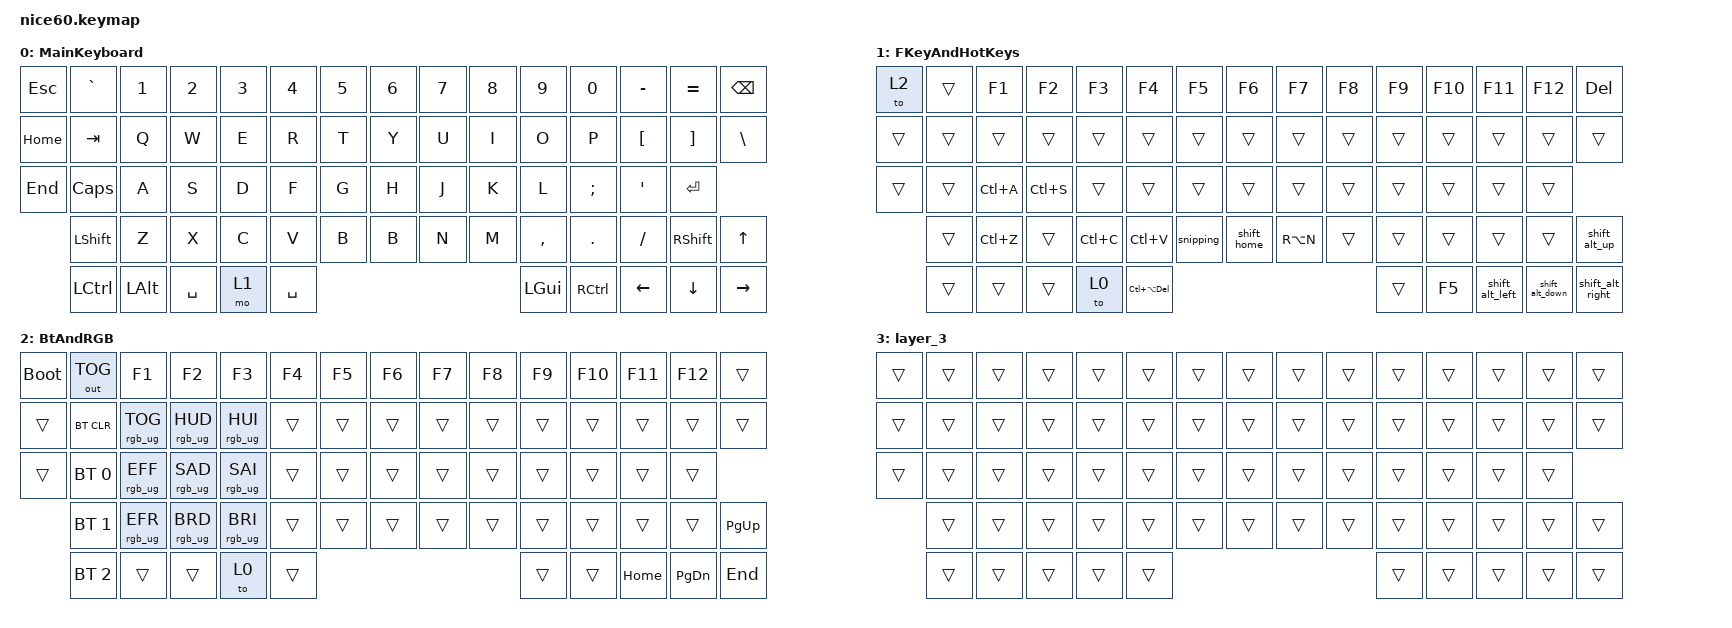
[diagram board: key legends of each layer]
/*
 * Copyright (c) 2021 The ZMK Contributors
 *
 * SPDX-License-Identifier: MIT
 */

#include <behaviors.dtsi>
#include <dt-bindings/zmk/bt.h>
#include <dt-bindings/zmk/keys.h>
#include <dt-bindings/zmk/outputs.h>
#include <dt-bindings/zmk/rgb.h>

/ {
    combos {
        compatible = "zmk,combos";
    };

    macros {
        shift_home: shift_home {
            compatible = "zmk,behavior-macro";
            label = "SHIFT_HOME";
            #binding-cells = <0>;
            bindings =
                <&macro_press>,
                <&kp LEFT_SHIFT>,
                <&macro_tap>,
                <&kp HOME>,
                <&macro_release>,
                <&kp LEFT_SHIFT>;
        };
        shift_end: shift_end {
            compatible = "zmk,behavior-macro";
            label = "SHIFT_END";
            #binding-cells = <0>;
            bindings =
                <&macro_press>,
                <&kp LEFT_SHIFT>,
                <&macro_tap>,
                <&kp END>,
                <&macro_release>,
                <&kp LEFT_SHIFT>;
        };
        snipping: snipping {
            compatible = "zmk,behavior-macro";
            label = "SNIPPING";
            #binding-cells = <0>;
            bindings =
                <&macro_press>,
                <&kp LEFT_WIN &kp LEFT_SHIFT>,
                <&macro_tap>,
                <&kp S>,
                <&macro_release>,
                <&kp LEFT_WIN &kp LEFT_SHIFT>;
        };
        shift_alt_up: shift_alt_up {
            compatible = "zmk,behavior-macro";
            label = "SHIFT_ALT_UP";
            #binding-cells = <0>;
            bindings =
                <&macro_press>,
                <&kp LEFT_SHIFT &kp LEFT_ALT>,
                <&macro_tap>,
                <&kp UP>,
                <&macro_release>,
                <&kp LEFT_SHIFT &kp LEFT_ALT>;
        };
        shift_alt_down: shift_alt_down {
            compatible = "zmk,behavior-macro";
            label = "SHIFT_ALT_DOWN";
            #binding-cells = <0>;
            bindings =
                <&macro_press>,
                <&kp LEFT_SHIFT &kp LEFT_ALT>,
                <&macro_tap>,
                <&kp DOWN>,
                <&macro_release>,
                <&kp LEFT_SHIFT &kp LEFT_ALT>;
        };
        shift_alt_left: shift_alt_left {
            compatible = "zmk,behavior-macro";
            label = "SHIFT_ALT_LEFT";
            #binding-cells = <0>;
            bindings =
                <&macro_press>,
                <&kp LEFT_SHIFT &kp LEFT_ALT>,
                <&macro_tap>,
                <&kp LEFT>,
                <&macro_release>,
                <&kp LEFT_SHIFT &kp LEFT_ALT>;
        };
        shift_alt_right: shift_alt_right {
            compatible = "zmk,behavior-macro";
            label = "SHIFT_ALT_RIGHT";
            #binding-cells = <0>;
            bindings =
                <&macro_press>,
                <&kp LEFT_SHIFT &kp LEFT_ALT>,
                <&macro_tap>,
                <&kp RIGHT>,
                <&macro_release>,
                <&kp LEFT_SHIFT &kp LEFT_ALT>;
        };
        alt_164: alt_164 {
            compatible = "zmk,behavior-macro";
            label = "ALT_164";
            #binding-cells = <0>;
            bindings =
                <&macro_press>,
                <&kp LEFT_ALT>,
                <&macro_tap>,
                <&kp KP_NUMBER_1 &kp KP_NUMBER_6 &kp KP_NUMBER_4>,
                <&macro_release>,
                <&kp LEFT_ALT>;
        };
    };

    keymap {
        compatible = "zmk,keymap";

        MainKeyboard {
            bindings = <
 &kp ESC  &kp GRAVE  &kp N1    &kp N2     &kp N3  &kp N4  &kp N5  &kp N6     &kp N7  &kp N8        &kp N9     &kp N0         &kp MINUS        &kp EQUAL   &kp BSPC
&kp HOME    &kp TAB   &kp Q     &kp W      &kp E   &kp R   &kp T   &kp Y      &kp U   &kp I         &kp O      &kp P          &kp LBKT         &kp RBKT   &kp BSLH
 &kp END   &kp CAPS   &kp A     &kp S      &kp D   &kp F   &kp G   &kp H      &kp J   &kp K         &kp L   &kp SEMI  &kp SINGLE_QUOTE        &kp ENTER
          &kp LSHFT   &kp Z     &kp X      &kp C   &kp V   &kp B   &kp B      &kp N   &kp M     &kp COMMA    &kp DOT         &kp SLASH  &kp RIGHT_SHIFT     &kp UP
          &kp LCTRL          &kp LALT  &kp SPACE           &mo 1          &kp SPACE          &kp LEFT_GUI  &kp RCTRL          &kp LEFT         &kp DOWN  &kp RIGHT
            >;
        };

        FKeyAndHotKeys {
            bindings = <
 &to 2  &trans     &kp F1     &kp F2     &kp F3     &kp F4     &kp F5       &kp F6              &kp F7  &kp F8  &kp F9  &kp F10          &kp F11          &kp F12        &kp DELETE
&trans  &trans     &trans     &trans     &trans     &trans     &trans       &trans              &trans  &trans  &trans   &trans           &trans           &trans            &trans
&trans  &trans  &kp LC(A)  &kp LC(S)     &trans     &trans     &trans       &trans              &trans  &trans  &trans   &trans           &trans           &trans
        &trans  &kp LC(Z)     &trans  &kp LC(C)  &kp LC(V)  &snipping  &shift_home           &kp RA(N)  &trans  &trans   &trans           &trans           &trans     &shift_alt_up
        &trans                &trans     &trans                 &to 0               &kp LC(LA(DELETE))          &trans   &kp F5  &shift_alt_left  &shift_alt_down  &shift_alt_right
            >;
        };

        BtAndRGB {
            bindings = <
&bootloader  &out OUT_TOG           &kp F1           &kp F2           &kp F3  &kp F4  &kp F5  &kp F6  &kp F7  &kp F8  &kp F9  &kp F10   &kp F11    &kp F12     &trans
     &trans    &bt BT_CLR  &rgb_ug RGB_TOG  &rgb_ug RGB_HUD  &rgb_ug RGB_HUI  &trans  &trans  &trans  &trans  &trans  &trans   &trans    &trans     &trans     &trans
     &trans  &bt BT_SEL 0  &rgb_ug RGB_EFF  &rgb_ug RGB_SAD  &rgb_ug RGB_SAI  &trans  &trans  &trans  &trans  &trans  &trans   &trans    &trans     &trans
             &bt BT_SEL 1  &rgb_ug RGB_EFR  &rgb_ug RGB_BRD  &rgb_ug RGB_BRI  &trans  &trans  &trans  &trans  &trans  &trans   &trans    &trans     &trans  &kp PG_UP
             &bt BT_SEL 2                            &trans           &trans           &to 0          &trans          &trans   &trans  &kp HOME  &kp PG_DN    &kp END
            >;
        };

        layer_3 {
            bindings = <
&trans  &trans  &trans  &trans  &trans  &trans  &trans  &trans  &trans  &trans  &trans  &trans  &trans  &trans  &trans
&trans  &trans  &trans  &trans  &trans  &trans  &trans  &trans  &trans  &trans  &trans  &trans  &trans  &trans  &trans
&trans  &trans  &trans  &trans  &trans  &trans  &trans  &trans  &trans  &trans  &trans  &trans  &trans  &trans
        &trans  &trans  &trans  &trans  &trans  &trans  &trans  &trans  &trans  &trans  &trans  &trans  &trans  &trans
        &trans          &trans  &trans          &trans          &trans          &trans  &trans  &trans  &trans  &trans
            >;
        };
    };
};
